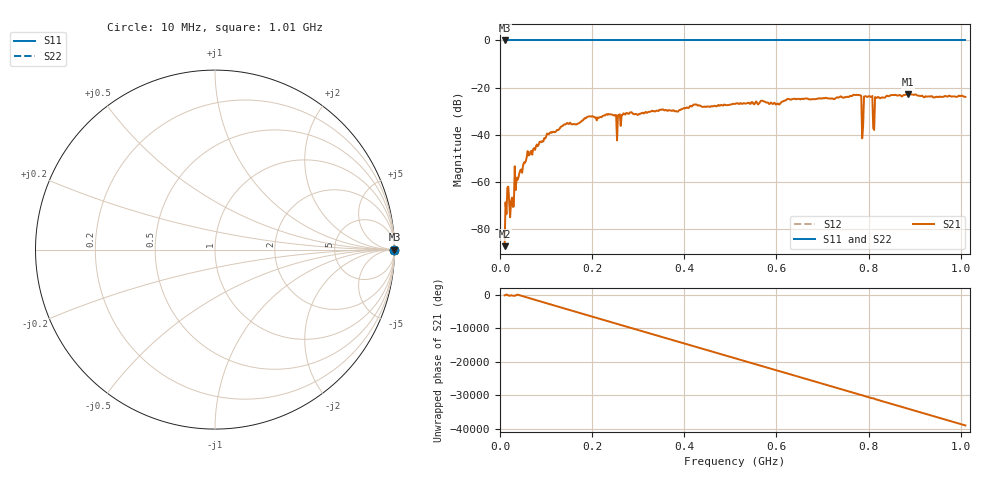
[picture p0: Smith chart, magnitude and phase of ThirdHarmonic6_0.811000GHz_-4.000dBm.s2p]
! 8/16/2025 2:59:37 AM
! C:\ANRITSUVNA\TEMP\TEMP.S2P
! CHANNEL.1
! TR.MEASUREMENT
! RAW.DATA
! RF.CORRECTION.OFF
! AVERAGING.OFF
! IF.BANDWIDTH: 5KHZ
! SWEEPTYPE:  FREQ.SWEEP(Linear)
! Reference Plane Port Info
! PORT:  PORT1  PORT2
! DISTANCE:  0  m  0  m
! TIME:  0  s  0  s
! PHASE.OFFSET:  0  deg.  0  deg.
! LOSS:  0  dB  0  dB
! REF.LOSS:  0  dB  0  dB
! REF.FREQ:  0  Hz  0  Hz
! Power Info
! POWER:  -20  dBm  -20  dBm
! EFF.POWER:  -20  dBm  -20  dBm
! SOURCE.ATTEN:  0  dB  0  dB
! TEST.ATTEN:  0  dB  0  dB
# GHZ S RI R 50.0
! FREQ.GHZ  S11RE  S11IM  S21RE  S21IM  S12RE  S12IM  S22RE  S22IM
!; PortSelection: Port_12
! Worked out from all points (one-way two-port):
!   501 points, 10 MHz to 1.01 GHz, reference 50 ohm
!   highest |S21| = -22.88 dB at 886 MHz (marker M1); lowest = -87.4 dB at 10 MHz (marker M2)
!   lowest |S11| = 0.0 dB at 10 MHz (marker M3)
!   |S11| at or under -10 dB: nowhere
!   |S22| runs from 0.0 to 0.0 dB; largest |S21 - S12| = 1.1
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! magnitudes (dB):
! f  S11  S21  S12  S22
! 10 MHz  0.0  -87.4  0.0  0.0
! 16 MHz  0.0  -62.5  0.0  0.0
! 26 MHz  0.0  -66.8  0.0  0.0
! 36 MHz  0.0  -58.4  0.0  0.0
! 64 MHz  0.0  -48.7  0.0  0.0
! 106 MHz  0.0  -39.8  0.0  0.0
! 178 MHz  0.0  -34.1  0.0  0.0
! 258 MHz  0.0  -31.6  0.0  0.0
! 344 MHz  0.0  -30.0  0.0  0.0
! 510 MHz  0.0  -27.0  0.0  0.0
! 678 MHz  0.0  -25.0  0.0  0.0
! 778 MHz  0.0  -23.1  0.0  0.0
! 784 MHz  0.0  -23.6  0.0  0.0
! 790 MHz  0.0  -23.8  0.0  0.0
! 794 MHz  0.0  -23.7  0.0  0.0
! 804 MHz  0.0  -23.9  0.0  0.0
! 808 MHz  0.0  -23.6  0.0  0.0
! 814 MHz  0.0  -24.0  0.0  0.0
! 818 MHz  0.0  -24.4  0.0  0.0
! 844 MHz  0.0  -23.7  0.0  0.0
! 886 MHz  0.0  -22.9  0.0  0.0
! 1.01 GHz  0.0  -24.0  0.0  0.0
